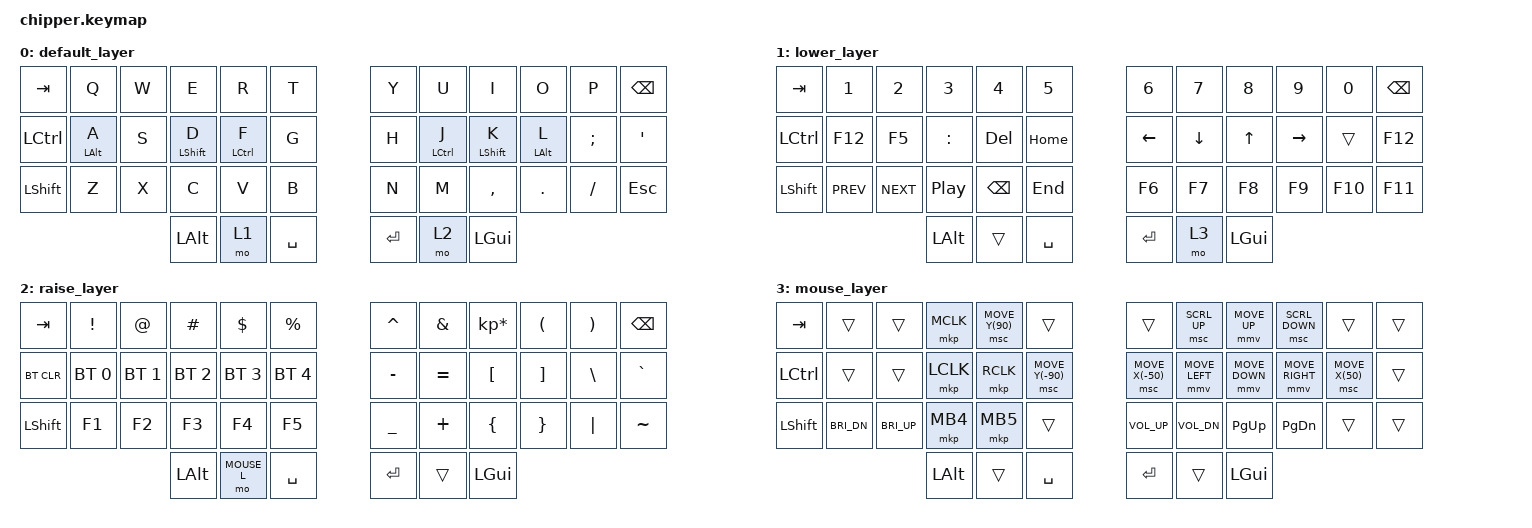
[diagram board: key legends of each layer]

#include <behaviors.dtsi>
#include <dt-bindings/zmk/keys.h>
#include <dt-bindings/zmk/pointing.h>
#include <dt-bindings/zmk/bt.h>
#define ZMK_POINTING_DEFAULT_MOVE_VAL 800
#define ZMK_POINTING_DEFAULT_SCRL_VAL 10
#define MOUSE_L 3

/ {
    chosen {
        zmk,physical-layout = &physical_layout0;
    };
};

/ {
        keymap {
                compatible = "zmk,keymap";

                default_layer {
// -------------------------------------------------------------------------------------------------
// |  TAB |  Q  |  W  |  E  |  R  |  T  |                    |  Y  |  U   |  I  |  O  |  P  | BKSP |
// | CTRL |  A  |  S  |  D  |  F  |  G  |                    |  H  |  J   |  K  |  L  |  ;  |  '   |
// | SHFT |  Z  |  X  |  C  |  V  |  B  |  MUTE  |  |        |  N  |  M   |  ,  |  .  |  /  | ESC  |
//                    | GUI | LWR | SPC |                    | ENT | RSE  | ALT |
                        bindings = <
   &kp TAB   &kp Q &kp W &kp E &kp R &kp T                     &kp Y &kp U  &kp I     &kp O   &kp P    &kp BSPC
   &kp LCTRL &mt LALT A &kp S &mt LSHIFT D &mt LCTRL F &kp G   &kp H &mt LCTRL J  &mt LSHIFT K &mt LALT L &kp SEMI &kp SQT
   &kp LSHFT &kp Z &kp X &kp C &kp V &kp B                     &kp N &kp M  &kp COMMA &kp DOT &kp FSLH &kp ESC
                  &kp LALT &mo 1 &kp SPACE                     &kp RET &mo 2 &kp LGUI
                        >;
                };
                lower_layer {
// ------------------------------------------------------------------------------------------------
// |  TAB |  1  |  2  |  3  |  4  |  5  |                    |  6  |  7  |  8  |  9  |  0  | BKSP |
// | BTCLR| BT1 | BT2 | BT3 | BT4 | BT5 |                    | LFT | DWN |  UP | RGT |     |  F12 |
// | SHFT | F1  | F2  | F3  | F4  | F5  |  boot  |  |        |  F6 | F7  | F8  | F9  | F10 |  F11 |
//                    | GUI |     | SPC |                    | ENT |     | ALT |
                        bindings = <
   &kp TAB    &kp N1     &kp N2     &kp N3    &kp N4   &kp   N5                    &kp N6   &kp N7   &kp N8 &kp N9    &kp N0  &kp BSPC
   &kp LCTRL  &kp F12    &kp F5     &kp COLON &kp DEL  &kp HOME                    &kp LEFT &kp DOWN &kp UP &kp RIGHT &trans  &kp F12
   &kp LSHFT  &kp C_PREV &kp C_NEXT &kp C_PP  &kp BSPC &kp  END                    &kp F6   &kp F7   &kp F8 &kp F9    &kp F10 &kp F11
                                    &kp LALT  &trans   &kp SPACE                   &kp RET  &mo 3    &kp LGUI
                        >;
                };

                raise_layer {
// ------------------------------------------------------------------------------------------------
// |  TAB |  !  |  @  |  #  |  $  |  %  |                    |  ^  |  &  |  *  |  (  |  )  | BKSP |
// | CTRL |     |     |     |     |     |                    |  -  |  =  |  [  |  ]  |  \  |  `   |
// | SHFT |     |     |     |     |     |        |  |  boot  |  _  |  +  |  {  |  }  | "|" |  ~   |
//                    | GUI |     | SPC |                    | ENT |     | ALT |
                        bindings = <
   &kp  TAB   &kp EXCL     &kp AT       &kp HASH     &kp DLLR     &kp    PRCNT                             &kp CARET &kp AMPS  &kp KP_MULTIPLY &kp LPAR &kp RPAR &kp BSPC
   &bt BT_CLR &bt BT_SEL 0 &bt BT_SEL 1 &bt BT_SEL 2 &bt BT_SEL 3 &bt BT_SEL 4                             &kp MINUS &kp EQUAL &kp LBKT        &kp RBKT &kp BSLH &kp GRAVE
   &kp LSHFT  &kp F1       &kp F2       &kp F3       &kp F4       &kp F5                                   &kp UNDER &kp PLUS  &kp LBRC        &kp RBRC &kp PIPE &kp TILDE
                                                &kp LALT &mo MOUSE_L &kp SPACE                             &kp RET  &trans   &kp LGUI
                        >;
                };

                mouse_layer {
// ------------------------------------------------------------------------------------------------
// |  TAB |  !  |  @  |  #  |  $  |  %  |                    |  ^  |  &  |  *  |  (  |  )  | BKSP |
// | CTRL |     |     |     |     |     |                    |  -  |  =  |  [  |  ]  |  \  |  `   |
// | SHFT |     |     |     |     |     |        |  |  boot  |  _  |  +  |  {  |  }  | "|" |  ~   |
//                    | GUI |     | SPC |                    | ENT |     | ALT |
                        bindings = <
   &kp  TAB   &trans &trans &mkp MCLK &msc MOVE_Y(90) &trans                          &trans           &msc SCRL_UP   &mmv MOVE_UP   &msc SCRL_DOWN  &trans          &trans
   &kp LCTRL  &trans &trans &mkp LCLK &mkp RCLK       &msc MOVE_Y(-90)                &msc MOVE_X(-50) &mmv MOVE_LEFT &mmv MOVE_DOWN &mmv MOVE_RIGHT &msc MOVE_X(50) &trans
   &kp LSHFT  &kp C_BRI_DN &kp C_BRI_UP &mkp MB4  &mkp MB5        &trans                          &kp K_VOL_UP       &kp K_VOL_DN     &kp PAGE_UP    &kp PAGE_DOWN   &trans          &trans
                                      &kp LALT        &trans &kp SPACE                        &kp RET  &trans   &kp LGUI
                        >;
                };

        };
};

&layout_ortho_4x12_all {
    id = <0>;
    transform = <&default_transform>;
};
